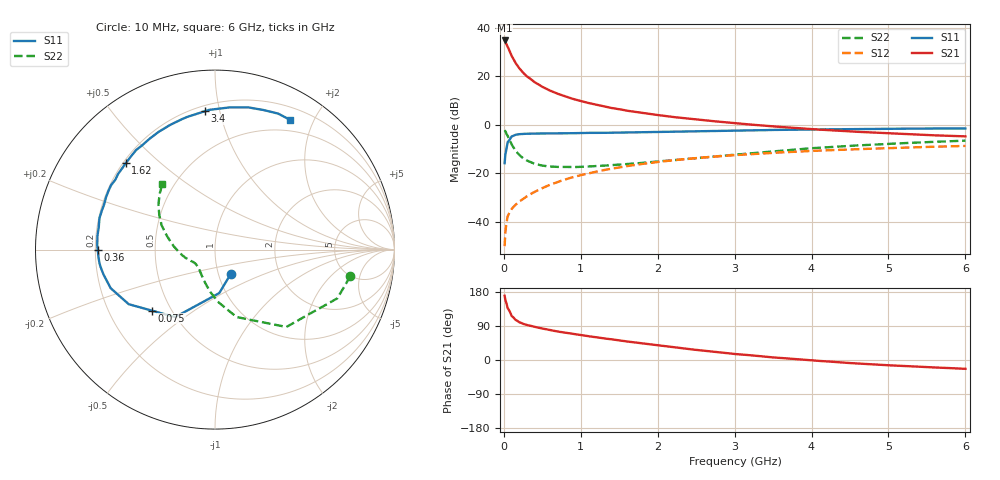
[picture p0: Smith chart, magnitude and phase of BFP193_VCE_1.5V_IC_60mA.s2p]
! Infineon Technologies  Discrete & RF Semiconductors
! BFP193
! VCE = 1.5 V,  IC =  60 mA
! Common Emitter S-Parameters:  Jan 2016
# GHz  S  MA  R  50
!  f  S11  S21  S12  S22
! GHz  MAG  ANG  MAG  ANG  MAG  ANG  MAG  ANG
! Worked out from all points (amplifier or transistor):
!   210 points, 10 MHz to 6 GHz, reference 50 ohm
!   highest |S21| = 34.8 dB at 10 MHz (marker M1)
!   |S21| within 3 dB of that: start of sweep to 55.71 MHz
!   unconditionally stable (mu >= 1): start of sweep to 12.65 MHz; 324 MHz to 5.422 GHz; 5.577 GHz to end of sweep
!   at 185 MHz: K = 0.82, MSG = 28.1 dB, |S12| = -32.1 dB
!   at 1.52 GHz: K = 1.14, MAG = 9.6 dB, |S12| = -17.5 dB
!   at 6 GHz: K = 1.01, MAG = 1.4 dB, |S12| = -8.8 dB
!   S11 on the Smith chart (normalised r, x): 10 MHz: 1.15, -0.32; 75 MHz: 0.39, -0.35; 360 MHz: 0.21, -0.00; 1.62 GHz: 0.21, +0.39; 3.4 GHz: 0.24, +0.90; 6 GHz: 0.35, +1.68
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0.01  0.1606 -56.4  54.92 169.6  0.0031 73.1  0.7681 -11.2
0.02  0.2435 -84.4  51.76 158.7  0.006 70.7  0.7337 -21.7
0.05  0.4367 -120.6  40.66 136.6  0.0129 60.0  0.5865 -47.3
0.075  0.4891 -136.0  33.13 128.7  0.0155 55.8  0.4797 -57.3
0.1  0.5689 -147.7  26.58 116.5  0.0181 52.8  0.395 -72.2
0.15  0.6197 -159.7  18.99 106.1  0.022 53.8  0.2936 -86.3
0.2  0.6364 -167.4  14.69 99.8  0.0258 55.9  0.2383 -96.1
0.24  0.6451 -171.5  12.38 96.4  0.0285 58.0  0.2094 -102.2
0.3  0.6505 -176.3  9.948 92.2  0.0332 60.9  0.1821 -110.0
0.36  0.6534 -179.9  8.498 89.6  0.0378 62.4  0.1658 -115.5
0.4  0.6567 177.8  7.544 87.3  0.0409 63.2  0.1559 -119.7
0.5  0.6594 173.4  6.055 83.0  0.049 64.8  0.1428 -126.9
0.6  0.6597 169.0  5.063 79.0  0.0574 65.3  0.1369 -132.2
0.8  0.667 161.6  3.817 72.0  0.0741 64.9  0.1339 -140.3
1.02  0.6742 153.8  3.021 65.3  0.0922 63.5  0.1351 -146.0
1.62  0.6921 136.0  1.927 48.4  0.1412 56.9  0.1555 -158.5
2.02  0.7085 125.2  1.568 38.3  0.1712 51.4  0.1748 -166.4
3.1  0.7583 100.0  1.041 14.3  0.2404 36.6  0.2473 170.8
3.4  0.7727 94.2  0.949 8.8  0.257 32.8  0.272 165.3
4.1  0.7989 82.6  0.792 -2.4  0.2919 24.0  0.3343 153.9
5.1  0.8251 69.6  0.654 -14.8  0.3318 12.4  0.4091 140.1
6  0.8353 59.8  0.574 -23.3  0.3643 2.5  0.4683 128.9
